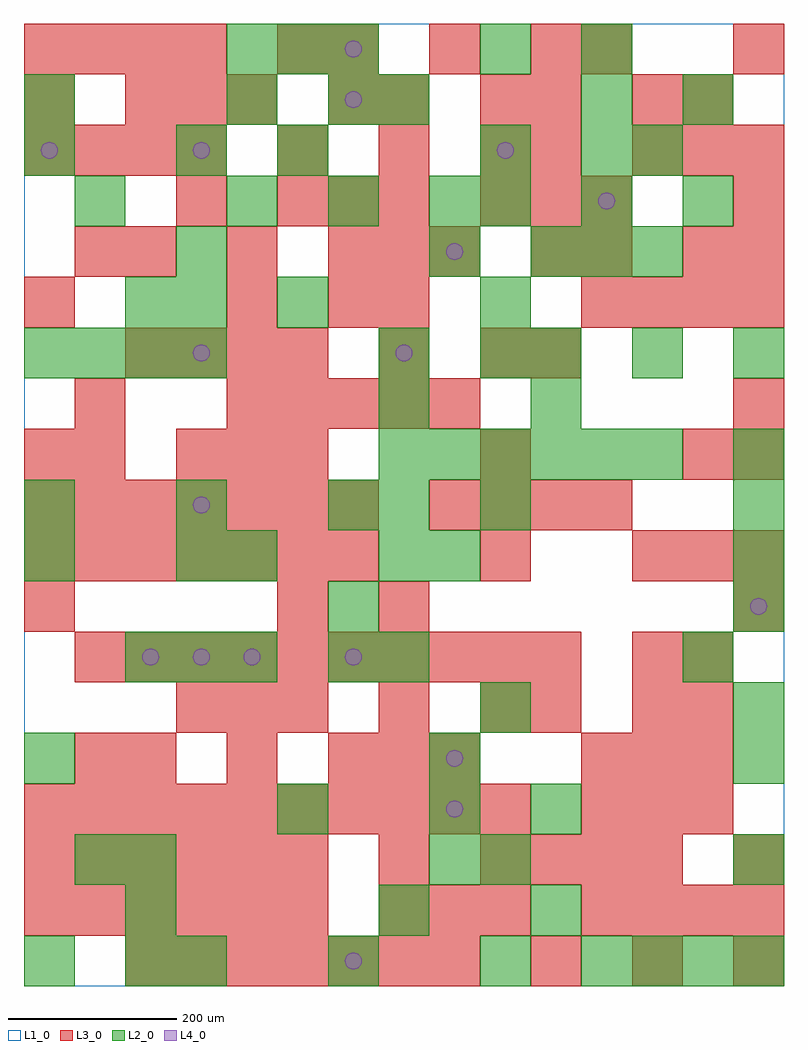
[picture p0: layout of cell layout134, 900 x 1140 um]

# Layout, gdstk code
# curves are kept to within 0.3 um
import gdstk
lib = gdstk.Library(unit=1e-6, precision=1e-09)
def R(c, l, rs):  # rectangles x0, y0, x1, y1
    for r in rs: c.add(gdstk.rectangle(r[:2], r[2:], *l))
def A(c, l, x, y, w, h, nx, ny, dx, dy):  # array of equal rectangles
    R(c, l, [(x+i*dx, y+j*dy, x+i*dx+w, y+j*dy+h) for i in range(nx) for j in range(ny)])
def P(c, l, *ps):  # polygons
    for p in ps: c.add(gdstk.Polygon(p, *l))
L1_0 = (1, 0)
L2_0 = (2, 0)
L3_0 = (3, 0)
L4_0 = (4, 0)

layout134 = lib.new_cell('layout134')
R(layout134, L1_0, [(0,0,900,1140)])
A(layout134, L2_0, 0, 0, 60, 60, 1, 3, 0, 240)
A(layout134, L2_0, 120, 0, 60, 60, 1, 3, 0, 60)
A(layout134, L2_0, 180, 0, 60, 60, 3, 1, 180, 0)
A(layout134, L2_0, 660, 0, 60, 60, 4, 1, 60, 0)
A(layout134, L2_0, 480, 120, 60, 60, 1, 3, 0, 60)
A(layout134, L2_0, 120, 360, 60, 60, 3, 1, 60, 0)
A(layout134, L2_0, 840, 420, 60, 60, 1, 4, 0, 60)
A(layout134, L2_0, 0, 540, 60, 60, 3, 1, 180, 0)
A(layout134, L2_0, 420, 600, 60, 60, 6, 1, 60, 0)
A(layout134, L2_0, 0, 720, 60, 60, 4, 1, 60, 0)
A(layout134, L2_0, 600, 720, 60, 60, 3, 1, 120, 0)
A(layout134, L2_0, 600, 840, 60, 60, 3, 1, 60, 0)
A(layout134, L2_0, 240, 900, 60, 60, 3, 1, 120, 0)
A(layout134, L2_0, 540, 900, 60, 60, 3, 1, 120, 0)
A(layout134, L2_0, 660, 960, 60, 60, 1, 3, 0, 60)
A(layout134, L2_0, 240, 1080, 60, 60, 3, 1, 60, 0)
R(layout134, L2_0, [(420,60,480,120), (600,60,660,120), (60,120,120,180), (540,120,600,180), (840,120,900,180), (300,180,360,240), (600,180,660,240), (840,240,900,300), (540,300,600,360), (840,300,900,360), (360,360,420,420), (420,360,480,420), (780,360,840,420), (360,420,420,480), (180,480,240,540), (240,480,300,540), (420,480,480,540), (480,480,540,540), (420,540,480,600), (540,540,600,600), (420,660,480,720), (600,660,660,720), (420,720,480,780), (540,720,600,780), (120,780,180,840), (180,780,240,840), (300,780,360,840), (540,780,600,840), (180,840,240,900), (480,840,540,900), (60,900,120,960), (0,960,60,1020), (180,960,240,1020), (300,960,360,1020), (540,960,600,1020), (720,960,780,1020), (0,1020,60,1080), (240,1020,300,1080), (360,1020,420,1080), (420,1020,480,1080), (780,1020,840,1080), (540,1080,600,1140)])
A(layout134, L3_0, 120, 0, 60, 60, 7, 1, 60, 0)
A(layout134, L3_0, 600, 0, 60, 60, 3, 1, 120, 0)
A(layout134, L3_0, 0, 60, 60, 60, 6, 2, 60, 60)
A(layout134, L3_0, 420, 60, 60, 60, 3, 1, 60, 0)
A(layout134, L3_0, 660, 60, 60, 60, 4, 2, 60, 720)
A(layout134, L3_0, 540, 120, 60, 60, 4, 1, 60, 0)
A(layout134, L3_0, 0, 180, 60, 60, 10, 1, 60, 0)
A(layout134, L3_0, 660, 180, 60, 60, 3, 2, 60, 60)
A(layout134, L3_0, 120, 240, 60, 60, 3, 2, 120, 600)
A(layout134, L3_0, 180, 300, 60, 60, 3, 2, 60, 300)
A(layout134, L3_0, 60, 360, 60, 60, 10, 1, 60, 0)
A(layout134, L3_0, 780, 360, 60, 60, 1, 3, 0, 240)
A(layout134, L3_0, 0, 420, 60, 60, 1, 3, 0, 180)
A(layout134, L3_0, 0, 480, 60, 60, 7, 2, 60, 60)
A(layout134, L3_0, 540, 480, 60, 60, 1, 3, 0, 120)
A(layout134, L3_0, 720, 480, 60, 60, 3, 2, 60, 480)
A(layout134, L3_0, 480, 540, 60, 60, 4, 1, 60, 0)
A(layout134, L3_0, 240, 660, 60, 60, 5, 1, 60, 0)
A(layout134, L3_0, 120, 720, 60, 60, 4, 1, 60, 0)
A(layout134, L3_0, 420, 720, 60, 60, 1, 3, 0, 60)
A(layout134, L3_0, 600, 720, 60, 60, 1, 3, 0, 120)
A(layout134, L3_0, 300, 900, 60, 60, 3, 1, 60, 0)
A(layout134, L3_0, 540, 900, 60, 60, 3, 1, 60, 0)
A(layout134, L3_0, 0, 960, 60, 60, 4, 2, 60, 120)
A(layout134, L3_0, 300, 960, 60, 60, 3, 1, 120, 0)
A(layout134, L3_0, 120, 1020, 60, 60, 3, 1, 60, 0)
A(layout134, L3_0, 360, 1080, 60, 60, 3, 1, 120, 0)
R(layout134, L3_0, [(420,120,480,180), (840,120,900,180), (60,240,120,300), (420,240,480,300), (480,240,540,300), (420,300,480,360), (540,300,600,360), (600,300,660,360), (720,300,780,360), (780,300,840,360), (720,360,780,420), (300,420,360,480), (420,420,480,480), (840,420,900,480), (60,600,120,660), (840,600,900,660), (60,660,120,720), (840,660,900,720), (240,780,300,840), (360,780,420,840), (60,840,120,900), (480,840,540,900), (660,840,720,900), (840,840,900,900), (180,900,240,960), (840,900,900,960), (0,1020,60,1080), (360,1020,420,1080), (420,1020,480,1080), (540,1020,600,1080), (600,1020,660,1080), (720,1020,780,1080), (780,1020,840,1080), (300,1080,360,1140), (660,1080,720,1140), (840,1080,900,1140)])
P(layout134, L4_0, [(40,990),(39.239,993.827),(37.071,997.071),(33.827,999.239),(30,1000),(26.173,999.239),(22.929,997.071),(20.761,993.827),(20,990),(20.761,986.173),(22.929,982.929),(26.173,980.761),(30,980),(33.827,980.761),(37.071,982.929),(39.239,986.173)],
  [(160,390),(159.239,393.827),(157.071,397.071),(153.827,399.239),(150,400),(146.173,399.239),(142.929,397.071),(140.761,393.827),(140,390),(140.761,386.173),(142.929,382.929),(146.173,380.761),(150,380),(153.827,380.761),(157.071,382.929),(159.239,386.173)],
  [(220,390),(219.239,393.827),(217.071,397.071),(213.827,399.239),(210,400),(206.173,399.239),(202.929,397.071),(200.761,393.827),(200,390),(200.761,386.173),(202.929,382.929),(206.173,380.761),(210,380),(213.827,380.761),(217.071,382.929),(219.239,386.173)],
  [(220,570),(219.239,573.827),(217.071,577.071),(213.827,579.239),(210,580),(206.173,579.239),(202.929,577.071),(200.761,573.827),(200,570),(200.761,566.173),(202.929,562.929),(206.173,560.761),(210,560),(213.827,560.761),(217.071,562.929),(219.239,566.173)],
  [(220,750),(219.239,753.827),(217.071,757.071),(213.827,759.239),(210,760),(206.173,759.239),(202.929,757.071),(200.761,753.827),(200,750),(200.761,746.173),(202.929,742.929),(206.173,740.761),(210,740),(213.827,740.761),(217.071,742.929),(219.239,746.173)],
  [(220,990),(219.239,993.827),(217.071,997.071),(213.827,999.239),(210,1000),(206.173,999.239),(202.929,997.071),(200.761,993.827),(200,990),(200.761,986.173),(202.929,982.929),(206.173,980.761),(210,980),(213.827,980.761),(217.071,982.929),(219.239,986.173)],
  [(280,390),(279.239,393.827),(277.071,397.071),(273.827,399.239),(270,400),(266.173,399.239),(262.929,397.071),(260.761,393.827),(260,390),(260.761,386.173),(262.929,382.929),(266.173,380.761),(270,380),(273.827,380.761),(277.071,382.929),(279.239,386.173)],
  [(400,30),(399.239,33.827),(397.071,37.071),(393.827,39.239),(390,40),(386.173,39.239),(382.929,37.071),(380.761,33.827),(380,30),(380.761,26.173),(382.929,22.929),(386.173,20.761),(390,20),(393.827,20.761),(397.071,22.929),(399.239,26.173)],
  [(400,390),(399.239,393.827),(397.071,397.071),(393.827,399.239),(390,400),(386.173,399.239),(382.929,397.071),(380.761,393.827),(380,390),(380.761,386.173),(382.929,382.929),(386.173,380.761),(390,380),(393.827,380.761),(397.071,382.929),(399.239,386.173)],
  [(400,1050),(399.239,1053.827),(397.071,1057.071),(393.827,1059.239),(390,1060),(386.173,1059.239),(382.929,1057.071),(380.761,1053.827),(380,1050),(380.761,1046.173),(382.929,1042.929),(386.173,1040.761),(390,1040),(393.827,1040.761),(397.071,1042.929),(399.239,1046.173)],
  [(400,1110),(399.239,1113.827),(397.071,1117.071),(393.827,1119.239),(390,1120),(386.173,1119.239),(382.929,1117.071),(380.761,1113.827),(380,1110),(380.761,1106.173),(382.929,1102.929),(386.173,1100.761),(390,1100),(393.827,1100.761),(397.071,1102.929),(399.239,1106.173)],
  [(460,750),(459.239,753.827),(457.071,757.071),(453.827,759.239),(450,760),(446.173,759.239),(442.929,757.071),(440.761,753.827),(440,750),(440.761,746.173),(442.929,742.929),(446.173,740.761),(450,740),(453.827,740.761),(457.071,742.929),(459.239,746.173)],
  [(520,210),(519.239,213.827),(517.071,217.071),(513.827,219.239),(510,220),(506.173,219.239),(502.929,217.071),(500.761,213.827),(500,210),(500.761,206.173),(502.929,202.929),(506.173,200.761),(510,200),(513.827,200.761),(517.071,202.929),(519.239,206.173)],
  [(520,270),(519.239,273.827),(517.071,277.071),(513.827,279.239),(510,280),(506.173,279.239),(502.929,277.071),(500.761,273.827),(500,270),(500.761,266.173),(502.929,262.929),(506.173,260.761),(510,260),(513.827,260.761),(517.071,262.929),(519.239,266.173)],
  [(520,870),(519.239,873.827),(517.071,877.071),(513.827,879.239),(510,880),(506.173,879.239),(502.929,877.071),(500.761,873.827),(500,870),(500.761,866.173),(502.929,862.929),(506.173,860.761),(510,860),(513.827,860.761),(517.071,862.929),(519.239,866.173)],
  [(580,990),(579.239,993.827),(577.071,997.071),(573.827,999.239),(570,1000),(566.173,999.239),(562.929,997.071),(560.761,993.827),(560,990),(560.761,986.173),(562.929,982.929),(566.173,980.761),(570,980),(573.827,980.761),(577.071,982.929),(579.239,986.173)],
  [(700,930),(699.239,933.827),(697.071,937.071),(693.827,939.239),(690,940),(686.173,939.239),(682.929,937.071),(680.761,933.827),(680,930),(680.761,926.173),(682.929,922.929),(686.173,920.761),(690,920),(693.827,920.761),(697.071,922.929),(699.239,926.173)],
  [(880,450),(879.239,453.827),(877.071,457.071),(873.827,459.239),(870,460),(866.173,459.239),(862.929,457.071),(860.761,453.827),(860,450),(860.761,446.173),(862.929,442.929),(866.173,440.761),(870,440),(873.827,440.761),(877.071,442.929),(879.239,446.173)])

lib.write_gds('layout134.gds')
